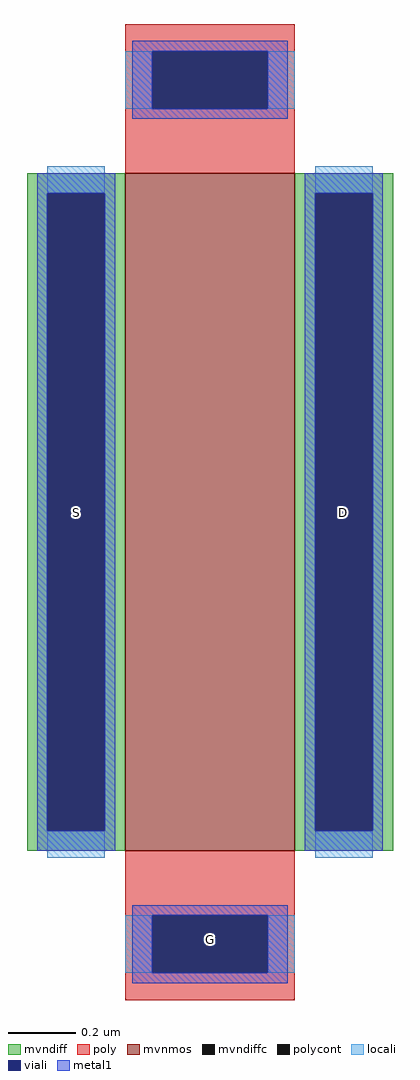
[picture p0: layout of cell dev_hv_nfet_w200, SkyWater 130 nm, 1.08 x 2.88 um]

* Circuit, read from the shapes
.subckt dev_hv_nfet_w200 G S D
XM1 D G S VSUBS sky130_fd_pr__nfet_g5v0d10v5 w=2 l=0.5
.ends

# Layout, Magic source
magic
tech sky130B
magscale 1 2
<< mvnmos >>
rect -50 -200 50 200
<< mvndiff >>
rect -108 188 -50 200
rect -108 -188 -96 188
rect -62 -188 -50 188
rect -108 -200 -50 -188
rect 50 188 108 200
rect 50 -188 62 188
rect 96 -188 108 188
rect 50 -200 108 -188
<< mvndiffc >>
rect -96 -188 -62 188
rect 62 -188 96 188
<< poly >>
rect -50 272 50 288
rect -50 238 -34 272
rect 34 238 50 272
rect -50 200 50 238
rect -50 -238 50 -200
rect -50 -272 -34 -238
rect 34 -272 50 -238
rect -50 -288 50 -272
<< polycont >>
rect -34 238 34 272
rect -34 -272 34 -238
<< locali >>
rect -50 238 -34 272
rect 34 238 50 272
rect -96 188 -62 204
rect -96 -204 -62 -188
rect 62 188 96 204
rect 62 -204 96 -188
rect -50 -272 -34 -238
rect 34 -272 50 -238
<< viali >>
rect -34 238 34 272
rect -96 -188 -62 188
rect 62 -188 96 188
rect -34 -272 34 -238
<< metal1 >>
rect -46 272 46 278
rect -46 238 -34 272
rect 34 238 46 272
rect -46 232 46 238
rect -102 188 -56 200
rect -102 -188 -96 188
rect -62 -188 -56 188
rect -102 -200 -56 -188
rect 56 188 102 200
rect 56 -188 62 188
rect 96 -188 102 188
rect 56 -200 102 -188
rect -46 -238 46 -232
rect -46 -272 -34 -238
rect 34 -272 46 -238
rect -46 -278 46 -272
<< labels >>
flabel metal1 s -46 -272 46 -232 0 FreeSans 16 0 0 0 G
port 0 nsew
flabel metal1 s -102 -100 -56 100 0 FreeSans 16 0 0 0 S
port 1 nsew
flabel metal1 s 56 -100 102 100 0 FreeSans 16 0 0 0 D
port 2 nsew
<< end >>
